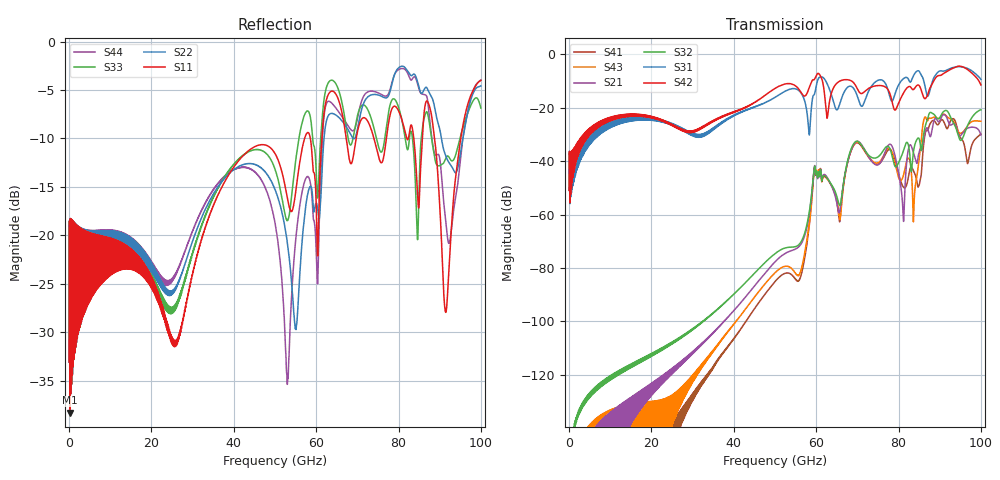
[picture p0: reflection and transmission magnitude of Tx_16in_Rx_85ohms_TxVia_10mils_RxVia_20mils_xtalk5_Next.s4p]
! Info: Touchstone file created by Circ.  Input file=Tx_16in_Rx_85ohms_TxVia_10mils_RxVia_20mils.circ
# Hz S RI R 50
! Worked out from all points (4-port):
!   10000 points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, 10 MHz to 100 GHz, reference 50 ohm
!   strongest paths, dB at 10 MHz, 25.01 GHz, 50.01 GHz, 75.01 GHz, 100 GHz:
!     S42: -50.9, -26.5, -12.8, -11.7, -11.5
!     S31: -51.0, -26.3, -16.1, -9.7, -9.4
!     S32: -178.0, -107.7, -74.6, -38.4, -20.8
!     S21: -, -117.6, -77.7, -41.4, -30.2
!     S43: -154.6, -127.5, -81.8, -40.6, -25.1
!     S41: -154.8, -143.5, -85.1, -41.2, -29.9
!   lowest |S11| = -38.3 dB at 200 MHz (marker M1), VSWR 1.02, Z = 49.1 - j0.849 ohm
!   |S11| at or under -10 dB: start of sweep to 57.19 GHz; 74.03 GHz to 77.05 GHz (3.021 GHz wide, 4 % of centre); 88.75 GHz to 95.11 GHz (6.359 GHz wide, 6.92 % of centre)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
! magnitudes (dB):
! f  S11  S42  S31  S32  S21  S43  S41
! 10 MHz  -33.1  -50.9  -51.0  -178.0  -  -154.6  -154.8
! 200 MHz  -38.3  -48.7  -48.7  -156.0  -184.8  -185.1  -184.3
! 56.05 GHz  -12.4  -13.6  -13.9  -70.8  -71.6  -82.0  -84.0
! 59.79 GHz  -14.5  -8.7  -13.7  -43.5  -43.4  -43.5  -43.7
! 81.09 GHz  -8.5  -14.8  -9.3  -36.6  -59.1  -45.8  -49.5
! 91.47 GHz  -28.0  -6.7  -6.1  -21.0  -23.0  -22.9  -27.0
! 100 GHz  -4.0  -11.5  -9.4  -20.8  -30.2  -25.1  -29.9
